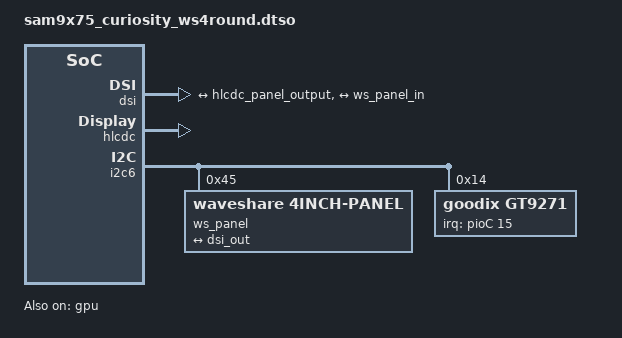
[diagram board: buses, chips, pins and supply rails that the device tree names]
// SPDX-License-Identifier: (GPL-2.0+ OR MIT)
/*
 * Device Tree overlay for the SAM9X75 Curiosity board with the
 * Waveshare 4inch DSI LCD (C) — 720x720 round MIPI-DSI panel + Goodix
 * GT9271 capacitive touch (the SAM9X75 Round Display Kit panel).
 *
 * Modeled on sam9x75_curiosity_mipi_display.dtso (the AC40T08A hx8394 kit),
 * which plugs into the same DSI FPC connector, but the panel binding is
 * different:
 *
 *   The stock in-tree driver drivers/gpu/drm/panel/panel-waveshare-dsi.c
 *   (CONFIG_DRM_PANEL_WAVESHARE_TOUCHSCREEN) already supports this panel. It
 *   is an *I2C* driver: the panel node lives on the DSI-connector I2C bus at
 *   0x45 (the on-board power/backlight MCU) and finds the DSI host through an
 *   of_graph endpoint. Its model table entry ws_panel_4_mode = 720x720 @
 *   50 MHz, 2 lanes is selected by compatible "waveshare,4inch-panel".
 *   So, unlike the hx8394 kit, there is NO panel child node under &dsi and NO
 *   PWM backlight (the driver drives brightness over I2C itself).
 *
 *   Touch is Goodix GT9271 @0x14 (mainline "goodix"), NOT atmel maxtouch.
 *
 * See SAM9X75-RDK_MD/round-panel-linux-bringup.md for the parameter capture
 * and SAM9X75-RDK_MD/PHASE2-HANDOFF.md for the driver-discovery note.
 *
 * VERIFY-ON-BENCH: the touch INT/RESET GPIOs and the I2C bus index (i2c6 is
 * inherited from the hx8394 kit routing); confirm against the RDK schematic.
 */
/dts-v1/;
/plugin/;

#include <dt-bindings/gpio/gpio.h>
#include <dt-bindings/interrupt-controller/irq.h>
#include <dt-bindings/pinctrl/at91.h>
#include <dt-bindings/clock/at91.h>

&dsi {
	status = "okay";
	#address-cells = <1>;
	#size-cells = <0>;

	ports {
		#address-cells = <1>;
		#size-cells = <0>;

		port@0 {
			reg = <0>;
			dsi_in: endpoint {
				remote-endpoint = <&hlcdc_panel_output>;
			};
		};

		port@1 {
			reg = <1>;
			dsi_out: endpoint {
				remote-endpoint = <&ws_panel_in>;
			};
		};
	};
	/* No panel child node here: the Waveshare panel is an I2C device (below). */
};

&gpu {
	status = "okay";
};

&hlcdc {
	clocks = <&pmc PMC_TYPE_PERIPHERAL 25>, <&pmc PMC_TYPE_GCK 25>, <&clk32k 1>;
	clock-names = "periph_clk", "sys_clk", "slow_clk";
	assigned-clocks = <&pmc PMC_TYPE_GCK 25>;
	assigned-clock-rates = <50000000>;
	status = "okay";

	display-controller {
		port@0 {
			#address-cells = <1>;
			#size-cells = <0>;
			hlcdc_panel_output: endpoint@0 {
				reg = <0>;
				remote-endpoint = <&dsi_in>;
			};
		};
	};

	pwm {
		status = "disabled";
	};
};

&i2c6 {			/* DSI FPC connector I2C bus (same one the hx8394 kit uses) */
	#address-cells = <1>;
	#size-cells = <0>;
	status = "okay";

	/*
	 * Waveshare panel: the node sits on the panel's on-board MCU I2C address
	 * (0x45). panel-waveshare-dsi binds here, drives power-up + backlight over
	 * I2C, and finds the DSI host via the of_graph endpoint below.
	 */
	ws_panel: panel@45 {
		compatible = "waveshare,4inch-panel";
		reg = <0x45>;

		port {
			ws_panel_in: endpoint {
				remote-endpoint = <&dsi_out>;
			};
		};
	};

	gt9271: touchscreen@14 {
		compatible = "goodix,gt9271";
		reg = <0x14>;
		interrupt-parent = <&pioC>;
		interrupts = <15 IRQ_TYPE_EDGE_FALLING>;	/* DSI-connector touch INT = PC15 */
		irq-gpios = <&pioC 15 GPIO_ACTIVE_HIGH>;
		/*
		 * reset-gpios: the Goodix driver only needs this for the
		 * power-on I2C-address selection dance. The panel already
		 * answers at 0x14, so we leave reset unwired by default to
		 * avoid driving an unverified pin. If touch fails to probe,
		 * confirm the touch RESET pin from the RDK schematic and
		 * enable it here (and add it to pinctrl-0):
		 * reset-gpios = <&pioC 16 GPIO_ACTIVE_HIGH>;	// VERIFY
		 */
		pinctrl-names = "default";
		pinctrl-0 = <&pinctrl_gt9271_irq>;
		touchscreen-size-x = <720>;
		touchscreen-size-y = <720>;
	};
};

&pinctrl {
	gt9271 {
		pinctrl_gt9271_irq: gt9271-irq {
			atmel,pins =
				<AT91_PIOC 15 AT91_PERIPH_GPIO AT91_PINCTRL_PULL_UP_DEGLITCH>;
		};
	};
};

&{/} {
	model = "SAM9X75-Curiosity: Waveshare 4inch round 720x720 DSI panel";
};
